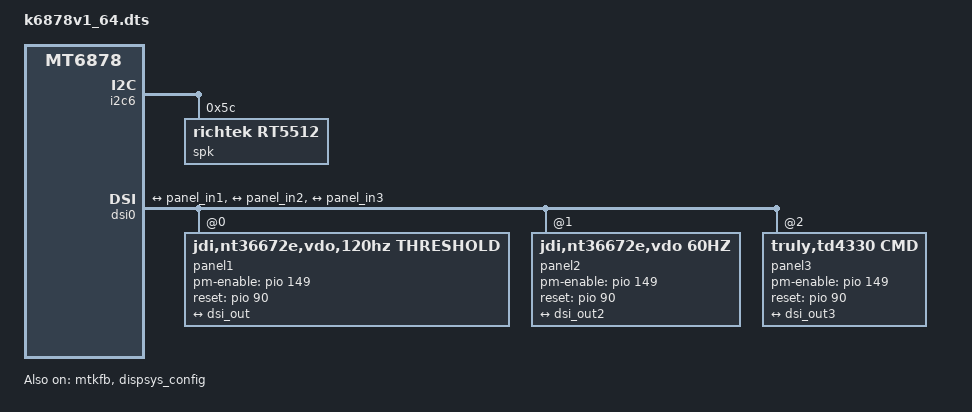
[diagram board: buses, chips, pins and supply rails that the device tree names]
// SPDX-License-Identifier: (GPL-2.0 OR MIT)
/*
 * Copyright (C) 2022 MediaTek Inc.
 */
/dts-v1/;
/plugin/;
#include <dt-bindings/interrupt-controller/arm-gic.h>
#include <dt-bindings/interrupt-controller/irq.h>
#include <dt-bindings/phy/phy.h>
#include <dt-bindings/pinctrl/mt6878-pinfunc.h>

#if 0
#include <dt-bindings/pinctrl/mt6897-pinfunc.h>
#endif

&chosen {
bootargs_ext = "";
};

&mtk_leds {
	compatible = "mediatek,i2c-leds";

	backlight {
		led-mode = <6>;
		gate-enable = <1>;
		pwm-config = <0 1 0 0 0>;
	};
};

&pdc {
	pd-vbus-upper-bound = <9000000>;
};

#if 0

&connfem {
/* Enable epa_elna node to support Wifi & BT ePA/eLNA FEM on customer load */
#if 0
	epa-elna {
		parts = <&wlan7207h &wlan7207c>;
		wifi {
			flags-0 {
				open-loop;
			};
		};
		bt {
			flags-0 {
				/* choose one of: epa-elna/epa/elna/bypass */
				epa-elna;
			};
		};
	};
#endif
};

/* GPS GPIO standardization start */
&pio {
	gps_pins_default: gps-default {
	};
	gps_l1_lna_pins_ol: gps-l1-lna0 {
		pins-cmd-dat {
			pinmux = <PINMUX_GPIO143__FUNC_GPIO143>;
			output-low;
		};
	};
	gps_l1_lna_pins_dsp_ctrl: gps-l1-lna1 {
		pins-cmd-dat {
			pinmux = <PINMUX_GPIO143__FUNC_GPS_L1_ELNA_EN>;
		};
	};
	gps_l1_lna_pins_oh: gps-l1-lna2 {
		pins-cmd-dat {
			pinmux = <PINMUX_GPIO143__FUNC_GPIO143>;
			output-high;
		};
	};
	gps_l5_lna_pins_ol: gps-l5-lna0 {
		pins-cmd-dat {
			pinmux = <PINMUX_GPIO144__FUNC_GPIO144>;
			output-low;
		};
	};
	gps_l5_lna_pins_dsp_ctrl: gps-l5-lna1 {
		pins-cmd-dat {
			pinmux = <PINMUX_GPIO144__FUNC_GPS_L5_ELNA_EN>;
		};
	};
	gps_l5_lna_pins_oh: gps-l5-lna2 {
		pins-cmd-dat {
			pinmux = <PINMUX_GPIO144__FUNC_GPIO144>;
			output-high;
		};
	};
};
&gps {
	pinctrl-names = "default",
		"gps_l1_lna_disable",
		"gps_l1_lna_dsp_ctrl",
		"gps_l1_lna_enable",
		"gps_l5_lna_disable",
		"gps_l5_lna_dsp_ctrl",
		"gps_l5_lna_enable";
	pinctrl-0 = <&gps_pins_default>;
	pinctrl-1 = <&gps_l1_lna_pins_ol>;
	pinctrl-2 = <&gps_l1_lna_pins_dsp_ctrl>;
	pinctrl-3 = <&gps_l1_lna_pins_oh>;
	pinctrl-4 = <&gps_l5_lna_pins_ol>;
	pinctrl-5 = <&gps_l5_lna_pins_dsp_ctrl>;
	pinctrl-6 = <&gps_l5_lna_pins_oh>;
	status = "okay";
};
/* GPS GPIO standardization end */

#endif

&i2c6 {
	spk: speaker-amp@5c {
		compatible = "richtek,rt5512";
		#address-cells = <1>;
		#size-cells = <0>;
		#sound-dai-cells = <0>;
		reg = <0x5c>;
		status = "okay";
		sound-name-prefix = "Left";
	};
};

&sound {
	mediatek,spk-i2s = <25 24>;
	mediatek,speaker-codec {
		sound-dai = <&spk>;
	};
};



&mtkfb {
	pinctrl-names = "lcd_bias_enp1_gpio", "lcd_bias_enp0_gpio",
		"lcd_bias_enn1_gpio", "lcd_bias_enn0_gpio",
		"lcm_rst_out1_gpio", "lcm_rst_out0_gpio",
		"mode_te_te", "lcm_led_en1_gpio", "lcm_led_en0_gpio";
	pinctrl-0 = <&mtkfb_pins_lcd_bias_enp1>;
	pinctrl-1 = <&mtkfb_pins_lcd_bias_enp0>;
	pinctrl-2 = <&mtkfb_pins_lcd_bias_enn1>;
	pinctrl-3 = <&mtkfb_pins_lcd_bias_enn0>;
	pinctrl-4 = <&mtkfb_pins_lcm_rst_out1_gpio>;
	pinctrl-5 = <&mtkfb_pins_lcm_rst_out0_gpio>;
	pinctrl-6 = <&mtkfb_pins_lcm_dsi_te>;
	pinctrl-7 = <&mtkfb_pins_lcm_led_en1>;
	pinctrl-8 = <&mtkfb_pins_lcm_led_en0>;

	status = "okay";
};

&pio {
	mtkfb_pins_lcd_bias_enp1: lcd-bias-enp1-gpio {
		pins-cmd-dat {
			pinmux = <PINMUX_GPIO149__FUNC_GPIO149>;
			slew-rate = <1>;
			output-high;
		};
	};

	mtkfb_pins_lcd_bias_enp0: lcd-bias-enp0-gpio {
		pins-cmd-dat {
			pinmux = <PINMUX_GPIO149__FUNC_GPIO149>;
			slew-rate = <1>;
			output-low;
		};
	};

	mtkfb_pins_lcd_bias_enn1: lcd-bias-enn1-gpio {
		pins-cmd-dat {
			pinmux = <PINMUX_GPIO149__FUNC_GPIO149>;
			slew-rate = <1>;
			output-high;
		};
	};

	mtkfb_pins_lcd_bias_enn0: lcd-bias-enn0-gpio {
		pins-cmd-dat {
			pinmux = <PINMUX_GPIO149__FUNC_GPIO149>;
			slew-rate = <1>;
			output-low;
		};
	};

	mtkfb_pins_lcm_rst_out1_gpio: lcm-rst-out1-gpio {
		pins-cmd-dat {
			pinmux = <PINMUX_GPIO90__FUNC_GPIO90>;
			slew-rate = <1>;
			output-high;
		};
	};

	mtkfb_pins_lcm_rst_out0_gpio: lcm-rst-out0-gpio {
		pins-cmd-dat {
			pinmux = <PINMUX_GPIO90__FUNC_GPIO90>;
			slew-rate = <1>;
			output-low;
		};
	};
	mtkfb_pins_lcm_dsi_te: lcm-dsi-te {
		pins-cmd-dat {
			pinmux = <PINMUX_GPIO89__FUNC_DSI_TE>;
		};
	};

	mtkfb_pins_lcm_led_en1: lcm-led-en1-gpio {
		pins-cmd-dat {
			pinmux = <PINMUX_GPIO149__FUNC_GPIO149>;
			slew-rate = <1>;
			output-high;
		};
	};

	mtkfb_pins_lcm_led_en0: lcm-led-en0-gpio {
		pins-cmd-dat {
			pinmux = <PINMUX_GPIO149__FUNC_GPIO149>;
			slew-rate = <1>;
			output-low;
		};
	};
};

&dispsys_config {
	pinctrl-names = "mode_te_te";
	pinctrl-0 = <&mtkfb_pins_lcm_dsi_te>;
	status = "okay";
};

&dsi0 {
	status = "okay";
	#address-cells = <1>;
	#size-cells = <0>;
	switch-fps = <120>;
	panel1@0 {
		compatible = "jdi,nt36672e,vdo,120hz,threshold";
		reg = <0>;
		pm-enable-gpios = <&pio 149 0>;
		reset-gpios = <&pio 90 0>;
		res-switch = <2>;
		gate-ic = <4831>;
		rc-enable = <1>;
		pinctrl-names = "default";
		port {
			panel_in1: endpoint {
				remote-endpoint = <&dsi_out>;
			};
		};
	};
	panel2@1 {
		compatible = "jdi,nt36672e,vdo,60hz";
		reg = <1>;
		pm-enable-gpios = <&pio 149 0>;
		reset-gpios = <&pio 90 0>;
		gate-ic = <4831>;
		pinctrl-names = "default";
		port {
			panel_in2: endpoint {
				remote-endpoint = <&dsi_out2>;
			};
		};
	};
	panel3@2 {
		compatible = "truly,td4330,cmd";
		reg = <2>;
		pm-enable-gpios = <&pio 149 0>;
		reset-gpios = <&pio 90 0>;
		gate-ic = <4831>;
		pinctrl-names = "default";
		port {
			panel_in3: endpoint {
				remote-endpoint = <&dsi_out3>;
			};
		};
	};
	ports {
		port {
			dsi_out: endpoint {
				remote-endpoint = <&panel_in1>;
			};
			dsi_out2: endpoint2 {
				remote-endpoint = <&panel_in2>;
			};
			dsi_out3: endpoint3 {
				remote-endpoint = <&panel_in3>;
			};
		};
	};
};

&audio_sram {
	reg = <0 0x11059000 0 0xc000>;
	mode-size = <0xc000 0x11300>;
};

&audio_xhci_sram {
	reg = <0 0x11065000 0 0x3900>;
	mode-size = <0x3900>;
	afe-reserved;
};

#include <k6878v1_64/cust.dtsi>
#include "mediatek/cust_mt6878_touch_1080x2400.dtsi"
#include "mediatek/cust_mt6878_camera_v4l2.dtsi"
#include "mediatek/cust_k6878_connfem.dtsi"
/*End of this file, DO NOT ADD ANYTHING HERE*/
